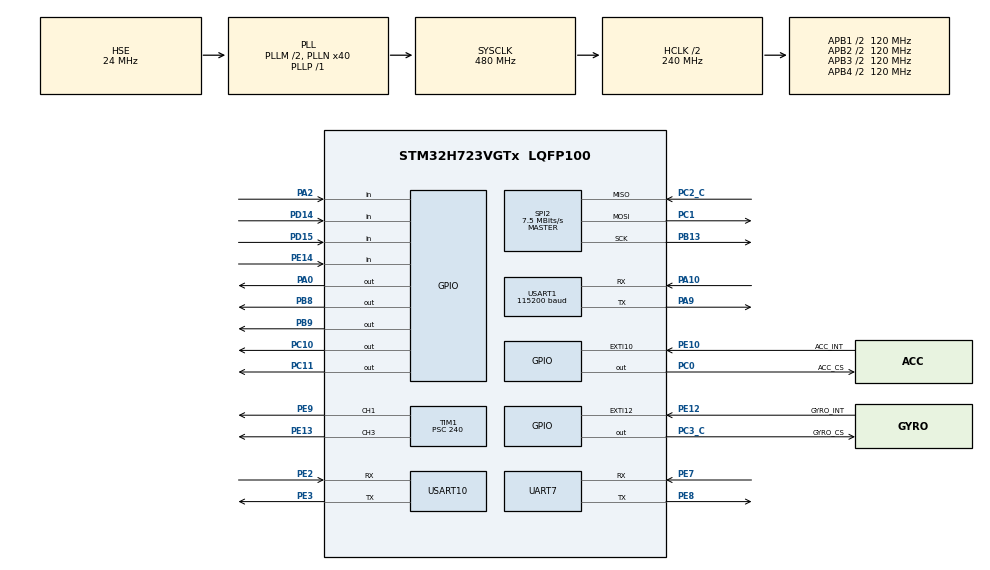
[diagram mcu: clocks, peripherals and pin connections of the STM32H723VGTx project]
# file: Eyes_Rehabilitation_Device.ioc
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Dma.Request0=SPI2_RX
Dma.Request1=SPI2_TX
Dma.Request2=USART1_TX
Dma.Request3=USART10_RX
Dma.SPI2_RX.0.Direction=DMA_PERIPH_TO_MEMORY
Dma.SPI2_RX.0.EventEnable=DISABLE
Dma.SPI2_RX.0.FIFOMode=DMA_FIFOMODE_DISABLE
Dma.SPI2_RX.0.Instance=DMA1_Stream0
Dma.SPI2_RX.0.MemDataAlignment=DMA_MDATAALIGN_BYTE
Dma.SPI2_RX.0.MemInc=DMA_MINC_ENABLE
Dma.SPI2_RX.0.Mode=DMA_NORMAL
Dma.SPI2_RX.0.PeriphDataAlignment=DMA_PDATAALIGN_BYTE
Dma.SPI2_RX.0.PeriphInc=DMA_PINC_DISABLE
Dma.SPI2_RX.0.Polarity=HAL_DMAMUX_REQ_GEN_RISING
Dma.SPI2_RX.0.Priority=DMA_PRIORITY_VERY_HIGH
Dma.SPI2_RX.0.RequestNumber=1
Dma.SPI2_RX.0.SignalID=NONE
Dma.SPI2_RX.0.SyncEnable=DISABLE
Dma.SPI2_RX.0.SyncPolarity=HAL_DMAMUX_SYNC_NO_EVENT
Dma.SPI2_RX.0.SyncRequestNumber=1
Dma.SPI2_RX.0.SyncSignalID=NONE
Dma.SPI2_TX.1.Direction=DMA_MEMORY_TO_PERIPH
Dma.SPI2_TX.1.EventEnable=DISABLE
Dma.SPI2_TX.1.FIFOMode=DMA_FIFOMODE_DISABLE
Dma.SPI2_TX.1.Instance=DMA1_Stream1
Dma.SPI2_TX.1.MemDataAlignment=DMA_MDATAALIGN_BYTE
Dma.SPI2_TX.1.MemInc=DMA_MINC_ENABLE
Dma.SPI2_TX.1.Mode=DMA_NORMAL
Dma.SPI2_TX.1.PeriphDataAlignment=DMA_PDATAALIGN_BYTE
Dma.SPI2_TX.1.PeriphInc=DMA_PINC_DISABLE
Dma.SPI2_TX.1.Polarity=HAL_DMAMUX_REQ_GEN_RISING
Dma.SPI2_TX.1.Priority=DMA_PRIORITY_HIGH
Dma.SPI2_TX.1.RequestNumber=1
Dma.SPI2_TX.1.SignalID=NONE
Dma.SPI2_TX.1.SyncEnable=DISABLE
Dma.SPI2_TX.1.SyncPolarity=HAL_DMAMUX_SYNC_NO_EVENT
Dma.SPI2_TX.1.SyncRequestNumber=1
Dma.SPI2_TX.1.SyncSignalID=NONE
Dma.USART10_RX.3.Direction=DMA_PERIPH_TO_MEMORY
Dma.USART10_RX.3.EventEnable=DISABLE
Dma.USART10_RX.3.FIFOMode=DMA_FIFOMODE_DISABLE
Dma.USART10_RX.3.Instance=DMA1_Stream4
Dma.USART10_RX.3.MemDataAlignment=DMA_MDATAALIGN_BYTE
Dma.USART10_RX.3.MemInc=DMA_MINC_ENABLE
Dma.USART10_RX.3.Mode=DMA_NORMAL
Dma.USART10_RX.3.PeriphDataAlignment=DMA_PDATAALIGN_BYTE
Dma.USART10_RX.3.PeriphInc=DMA_PINC_DISABLE
Dma.USART10_RX.3.Polarity=HAL_DMAMUX_REQ_GEN_RISING
Dma.USART10_RX.3.Priority=DMA_PRIORITY_LOW
Dma.USART10_RX.3.RequestNumber=1
Dma.USART10_RX.3.SignalID=NONE
Dma.USART10_RX.3.SyncEnable=DISABLE
Dma.USART10_RX.3.SyncPolarity=HAL_DMAMUX_SYNC_NO_EVENT
Dma.USART10_RX.3.SyncRequestNumber=1
Dma.USART10_RX.3.SyncSignalID=NONE
Dma.USART1_TX.2.Direction=DMA_MEMORY_TO_PERIPH
Dma.USART1_TX.2.EventEnable=DISABLE
Dma.USART1_TX.2.FIFOMode=DMA_FIFOMODE_DISABLE
Dma.USART1_TX.2.Instance=DMA1_Stream3
Dma.USART1_TX.2.MemDataAlignment=DMA_MDATAALIGN_BYTE
Dma.USART1_TX.2.MemInc=DMA_MINC_ENABLE
Dma.USART1_TX.2.Mode=DMA_NORMAL
Dma.USART1_TX.2.PeriphDataAlignment=DMA_PDATAALIGN_BYTE
Dma.USART1_TX.2.PeriphInc=DMA_PINC_DISABLE
Dma.USART1_TX.2.Polarity=HAL_DMAMUX_REQ_GEN_RISING
Dma.USART1_TX.2.Priority=DMA_PRIORITY_MEDIUM
Dma.USART1_TX.2.RequestNumber=1
Dma.USART1_TX.2.SignalID=NONE
Dma.USART1_TX.2.SyncEnable=DISABLE
Dma.USART1_TX.2.SyncPolarity=HAL_DMAMUX_SYNC_NO_EVENT
Dma.USART1_TX.2.SyncRequestNumber=1
Dma.USART1_TX.2.SyncSignalID=NONE
Mcu.Family=STM32H7
Mcu.Name=STM32H723VGTx
Mcu.Package=LQFP100
NVIC.DMA1_Stream0_IRQn=true\:1\:0\:true\:false\:true\:false\:true\:true
NVIC.DMA1_Stream1_IRQn=true\:2\:0\:true\:false\:true\:false\:true\:true
NVIC.DMA1_Stream3_IRQn=true\:8\:0\:false\:false\:true\:false\:true\:true
NVIC.DMA1_Stream4_IRQn=true\:7\:0\:true\:false\:true\:false\:true\:true
NVIC.EXTI15_10_IRQn=true\:3\:0\:true\:false\:true\:true\:true\:true
NVIC.PriorityGroup=NVIC_PRIORITYGROUP_4
NVIC.SPI2_IRQn=true\:5\:0\:true\:false\:true\:false\:true\:true
NVIC.UART7_IRQn=true\:5\:0\:true\:false\:true\:false\:true\:true
NVIC.USART10_IRQn=true\:6\:0\:true\:false\:true\:true\:true\:true
NVIC.USART1_IRQn=true\:5\:0\:true\:false\:true\:false\:true\:true
PA0.Signal=GPIO_Output
PA10.GPIO_Speed=GPIO_SPEED_FREQ_LOW
PA10.Mode=Asynchronous
PA10.Signal=USART1_RX
PA13(JTMS/SWDIO).Mode=Serial_Wire
PA13(JTMS/SWDIO).Signal=DEBUG_JTMS-SWDIO
PA14(JTCK/SWCLK).Mode=Serial_Wire
PA14(JTCK/SWCLK).Signal=DEBUG_JTCK-SWCLK
PA2.GPIO_PuPd=GPIO_PULLUP
PA2.Signal=GPIO_Input
PA9.GPIO_Speed=GPIO_SPEED_FREQ_LOW
PA9.Mode=Asynchronous
PA9.Signal=USART1_TX
PB13.GPIO_Speed=GPIO_SPEED_FREQ_VERY_HIGH
PB13.Mode=Full_Duplex_Master
PB13.Signal=SPI2_SCK
PB8.Signal=GPIO_Output
PB9.Signal=GPIO_Output
PC0.GPIO_Label=ACC_CS
PC0.GPIO_Speed=GPIO_SPEED_FREQ_VERY_HIGH
PC0.PinState=GPIO_PIN_SET
PC0.Signal=GPIO_Output
PC1.GPIO_Speed=GPIO_SPEED_FREQ_VERY_HIGH
PC1.Mode=Full_Duplex_Master
PC1.Signal=SPI2_MOSI
PC10.GPIO_PuPd=GPIO_PULLUP
PC10.GPIO_Speed=GPIO_SPEED_FREQ_HIGH
PC10.Signal=GPIO_Output
PC11.GPIO_PuPd=GPIO_PULLUP
PC11.GPIO_Speed=GPIO_SPEED_FREQ_HIGH
PC11.Signal=GPIO_Output
PC2_C.GPIO_Speed=GPIO_SPEED_FREQ_VERY_HIGH
PC2_C.Mode=Full_Duplex_Master
PC2_C.Signal=SPI2_MISO
PC3_C.GPIO_Label=GYRO_CS
PC3_C.GPIO_Speed=GPIO_SPEED_FREQ_VERY_HIGH
PC3_C.PinState=GPIO_PIN_SET
PC3_C.Signal=GPIO_Output
PD14.GPIO_PuPd=GPIO_PULLUP
PD14.Signal=GPIO_Input
PD15.GPIO_PuPd=GPIO_PULLUP
PD15.Signal=GPIO_Input
PE10.GPIO_Label=ACC_INT
PE10.Signal=GPXTI10
PE12.GPIO_Label=GYRO_INT
PE12.Signal=GPXTI12
PE13.Signal=S_TIM1_CH3
PE14.GPIO_PuPd=GPIO_PULLUP
PE14.Signal=GPIO_Input
PE2.Mode=Asynchronous
PE2.Signal=USART10_RX
PE3.Mode=Asynchronous
PE3.Signal=USART10_TX
PE7.Mode=Asynchronous
PE7.Signal=UART7_RX
PE8.Mode=Asynchronous
PE8.Signal=UART7_TX
PE9.Signal=S_TIM1_CH1
PH0-OSC_IN.Mode=HSE-External-Oscillator
PH0-OSC_IN.Signal=RCC_OSC_IN
PH1-OSC_OUT.Mode=HSE-External-Oscillator
PH1-OSC_OUT.Signal=RCC_OSC_OUT
ProjectManager.HeapSize=0x200
ProjectManager.StackSize=0x800
ProjectManager.TargetToolchain=MDK-ARM V5.27
RCC.ADCFreq_Value=48375000
RCC.APB1Freq_Value=120000000
RCC.APB2Freq_Value=120000000
RCC.APB3Freq_Value=120000000
RCC.APB4Freq_Value=120000000
RCC.CortexFreq_Value=480000000
RCC.D1PPRE=RCC_APB3_DIV2
RCC.D2PPRE1=RCC_APB1_DIV2
RCC.D2PPRE2=RCC_APB2_DIV2
RCC.D3PPRE=RCC_APB4_DIV2
RCC.DIVM1=2
RCC.DIVN1=40
RCC.DIVP1=1
RCC.HCLKFreq_Value=240000000
RCC.HPRE=RCC_HCLK_DIV2
RCC.HSE_VALUE=24000000
RCC.PLL2FRACN=0
RCC.PLL3FRACN=0
RCC.PLLFRACN=0
RCC.PLLSourceVirtual=RCC_PLLSOURCE_HSE
RCC.SYSCLKFreq_VALUE=480000000
RCC.SYSCLKSource=RCC_SYSCLKSOURCE_PLLCLK
RCC.USBFreq_Value=240000000
SH.S_TIM1_CH1.0=TIM1_CH1,PWM Generation1 CH1
SH.S_TIM1_CH3.0=TIM1_CH3,PWM Generation3 CH3
SPI2.BaudRatePrescaler=SPI_BAUDRATEPRESCALER_32
SPI2.CLKPhase=SPI_PHASE_2EDGE
SPI2.CLKPolarity=SPI_POLARITY_HIGH
SPI2.CalculateBaudRate=7.5 MBits/s
SPI2.DataSize=SPI_DATASIZE_8BIT
SPI2.Direction=SPI_DIRECTION_2LINES
SPI2.Mode=SPI_MODE_MASTER
SPI2.VirtualType=VM_MASTER
TIM1.Channel-PWM\ Generation1\ CH1=TIM_CHANNEL_1
TIM1.Channel-PWM\ Generation3\ CH3=TIM_CHANNEL_3
TIM1.Period=19999
TIM1.Prescaler=240
USART1.BaudRate=115200
USART1.VirtualMode-Asynchronous=VM_ASYNC
USART1.VirtualType=VM_ASYNC
USART10.VirtualMode=VM_ASYNC
VP_MEMORYMAP_VS_MEMORYMAP.Mode=CurAppReg
VP_TIM1_VS_ClockSourceINT.Mode=Internal
board=custom

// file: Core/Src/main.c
/* USER CODE BEGIN Header */
/**
  ******************************************************************************
  * @file           : main.c
  * @brief          : Main program body
  ******************************************************************************
  * @attention
  *
  * Copyright (c) 2024 STMicroelectronics.
  * All rights reserved.
  *
  * This software is licensed under terms that can be found in the LICENSE file
  * in the root directory of this software component.
  * If no LICENSE file comes with this software, it is provided AS-IS.
  *
  ******************************************************************************
  */
/* USER CODE END Header */
#include "main.h"
#include "dma.h"
#include "spi.h"
#include "tim.h"
#include "usart.h"
#include "gpio.h"

/* USER CODE BEGIN Includes */
#include "BMI088driver.h"
#include "servo.h"
#include "voice.h"
#include "laser.h"
#include "key.h"
#include "led.h"
#include "head_tracker.h"
#include "train_modes.h"
#include "buzzer.h"
#include "ws2812.h"
#include "wireless_bridge.h"
#include <math.h>
#include <stdio.h>
#include <string.h>
/* USER CODE END Includes */

void SystemClock_Config(void);

/* USER CODE BEGIN 0 */
#define VOFA_SEND_PERIOD_MS       100U
#define VOFA_UART_BAUDRATE        115200U
#define VOFA_TX_MARGIN_MS         10U

bmi088_euler_data_t euler_angle;
float temp;
static float vofa_gyro[3];
static float vofa_accel[3];
static float vofa_bias[3];
static float vofa_roll_deg;
static float vofa_pitch_deg;
static float vofa_yaw_deg;
static float vofa_dt;
static uint32_t vofa_timestamp_us;
static uint8_t imu_calibrated;
static uint8_t imu_is_static;
static uint8_t wireless_online;
static uint32_t wireless_rx_valid;
static uint32_t wireless_rx_invalid;
static uint32_t wireless_tx_count;
static uint32_t wireless_last_sequence;
static uint32_t wireless_status_last_ms;
static char vofa_buf[384];
static char vofa_dma_buf[384];
static uint32_t vofa_last_send_ms;
static uint32_t vofa_tx_fail_count;
static uint32_t vofa_tx_drop_count;
static volatile uint8_t vofa_tx_busy;
static uint32_t ws2812_alert_tick = 0;
static uint8_t  ws2812_alert_on = 0;
static uint8_t  prev_alert_active = 0;

#pragma pack(push, 1)
typedef struct {
    uint32_t session_id;
    uint8_t flow_mode, mode_count, completed_modes, completed, overall_score;
    uint8_t mode_order[5];
    uint32_t total_duration_ms;
    uint8_t config_version;
    uint8_t reserved[9];
} ReportSummaryWire_t;

typedef struct {
    uint32_t session_id;
    uint8_t mode, completed, score, pause_count;
    uint16_t total_trials, correct_trials, timeout_trials;
    uint16_t duration_s, avg_reaction_ms, min_reaction_ms, max_reaction_ms;
    uint16_t avg_head_offset_tenths, max_head_offset_tenths, head_variation_tenths;
} ReportModeBasicWire_t;

typedef struct {
    uint32_t session_id;
    uint8_t mode, valid;
    uint8_t reserved0[2];
    uint32_t head_over_limit_ms;
    uint16_t compensation_permille;
    uint16_t left_total, left_correct, right_total, right_correct;
    uint8_t trial_count, affected_side;
    int16_t asymmetry_permille;
    uint8_t reserved1[2];
} ReportModeDetailWire_t;

typedef struct {
    uint32_t session_id;
    uint8_t mode, index, target, side, correct, timed_out;
    uint8_t reserved0[2];
    uint32_t reaction_ms;
    uint8_t reserved1[12];
} ReportTrialWire_t;
#pragma pack(pop)

typedef char ReportSummarySizeCheck[(sizeof(ReportSummaryWire_t) == 28U) ? 1 : -1];
typedef char ReportModeBasicSizeCheck[(sizeof(ReportModeBasicWire_t) == 28U) ? 1 : -1];
typedef char ReportModeDetailSizeCheck[(sizeof(ReportModeDetailWire_t) == 28U) ? 1 : -1];
typedef char ReportTrialSizeCheck[(sizeof(ReportTrialWire_t) == 28U) ? 1 : -1];

static TrainingConfig_t Main_ConvertWirelessConfig(const WirelessTrainingConfig_t *wire);
static WirelessTrainingConfig_t Main_ConvertTrainingConfig(const TrainingConfig_t *config);
static void Main_SendReportSection(const WirelessReportQuery_t *query);
static uint16_t Main_ClampU16(uint32_t value);
/* USER CODE END 0 */

int main(void)
{

  /* MCU Configuration--------------------------------------------------------*/

  /* Reset of all peripherals, Initializes the Flash interface and the Systick. */
  HAL_Init();

  /* Configure the system clock */
  SystemClock_Config();

  /* Initialize all configured peripherals */
  MX_GPIO_Init();
  MX_DMA_Init();
  MX_SPI2_Init();
  MX_TIM1_Init();
  MX_USART1_UART_Init();
  MX_UART7_Init();
  MX_USART10_UART_Init();
  /* USER CODE BEGIN 2 */

    while (BMI088_init() != BMI088_NO_ERROR)
    {
    }
    BMI088_AsyncStart();
    BMI088_euler_init();
    HAL_Delay(2000);

    /* 使能 DM-02 板载 5V 可控电源输出（舵机/PWM/串口/CAN 供电） */
    __HAL_RCC_GPIOC_CLK_ENABLE();
    GPIO_InitTypeDef pwr = {0};
    pwr.Pin = GPIO_PIN_13 | GPIO_PIN_14 | GPIO_PIN_15;
    pwr.Mode = GPIO_MODE_OUTPUT_PP;
    pwr.Pull = GPIO_NOPULL;
    pwr.Speed = GPIO_SPEED_FREQ_LOW;
    HAL_GPIO_Init(GPIOC, &pwr);
    HAL_GPIO_WritePin(GPIOC, GPIO_PIN_13 | GPIO_PIN_14 | GPIO_PIN_15, GPIO_PIN_SET);

    Servo_Init();
    /* 成品上电保持双轴 90 度安全停放；需要检修时再手动调用 Servo_Test()。 */

    Laser_Init();
    Laser_Test();// 点亮激光并闪烁 3 次，验证 PA0 输出正常

    Key_Init();
    LED_Init();
    HeadTracker_Init();
    App_Init();
    Buzzer_Init();
    WS2812_Init();
    Voice_Init();
    WirelessBridge_Init();

    Buzzer_Alert(3, 200, 100);
    Laser_Blink(200, 3);
    HAL_Delay(4000);
    Voice_Play(0xFF, VOICE_TTS_INIT_OK); // 初始化完成播报
    HAL_Delay(4000);
    Voice_Play(0xFF, VOICE_TTS_WELCOME); // 欢迎
    HAL_Delay(2000);

    /* ==== PA2 按键测试（成功后删除）==== */
    /* ================================== */
    //Calibrate_ServoRange();  /* 标定模式已改为语音命令触发 */
  /* USER CODE END 2 */

  /* Infinite loop */
  while (1)
  {

    /* USER CODE BEGIN 3 */
        uint32_t now_ms = HAL_GetTick();
        WirelessControlRequest_t control_request;
        WirelessConfigRequest_t config_request;
        WirelessConfigQuery_t config_query;
        WirelessReportQuery_t report_query;
        WirelessServoPreviewRequest_t servo_preview_request;

        if (WirelessBridge_TakeConfig(&config_request) != 0U)
        {
            AppControlResult_t config_result;
            if (config_request.precheck_result == APP_CONTROL_RESULT_ACCEPTED)
            {
                TrainingConfig_t config = Main_ConvertWirelessConfig(&config_request.config);
                config_result = App_SetTrainingConfig(&config);
            }
            else
            {
                config_result = (AppControlResult_t)config_request.precheck_result;
            }
            WirelessBridge_SendConfigAck(&config_request, (uint8_t)config_result,
                                         (uint8_t)App_GetState());
        }

        if (WirelessBridge_TakeConfigQuery(&config_query) != 0U)
        {
            TrainingConfig_t active_config = App_GetTrainingConfig();
            WirelessTrainingConfig_t wireless_config = Main_ConvertTrainingConfig(&active_config);
            WirelessBridge_SendConfigData(&config_query, &wireless_config);
        }

        if (WirelessBridge_TakeServoPreview(&servo_preview_request) != 0U)
        {
            AppControlResult_t preview_result;
            if (servo_preview_request.precheck_result == APP_CONTROL_RESULT_ACCEPTED)
            {
                preview_result = App_PreviewServo(
                    servo_preview_request.axis, servo_preview_request.angle,
                    (AppServoPreviewAction_t)servo_preview_request.action);
            }
            else
            {
                preview_result = (AppControlResult_t)servo_preview_request.precheck_result;
            }
            WirelessBridge_SendServoPreviewAck(&servo_preview_request,
                                               (uint8_t)preview_result,
                                               (uint8_t)App_GetState());
        }

        /* USART10中断只接收并入队，所有训练状态切换统一在主循环执行。 */
        if (WirelessBridge_TakeControl(&control_request) != 0U)
        {
            AppControlResult_t control_result;

            if (control_request.precheck_result == APP_CONTROL_RESULT_ACCEPTED)
            {
                if (control_request.command == APP_CONTROL_START)
                {
                    TrainingPlan_t plan;
                    memset(&plan, 0, sizeof(plan));
                    plan.flow_mode = control_request.flow_mode;
                    plan.mode_count = control_request.mode_count;
                    memcpy(plan.mode_order, control_request.mode_order, sizeof(plan.mode_order));
                    if (control_request.config_version != APP_CONFIG_VERSION)
                        control_result = APP_CONTROL_RESULT_VERSION_MISMATCH;
                    else
                        control_result = App_StartSession(&plan);
                }
                else
                {
                    control_result = App_ExecuteControl((AppControlCommand_t)control_request.command, 0U);
                }
            }
            else
            {
                control_result = (AppControlResult_t)control_request.precheck_result;
            }
            WirelessBridge_SendControlAck(&control_request, (uint8_t)control_result,
                                          (uint8_t)App_GetState(), (uint8_t)App_GetMode());
        }
        WirelessBridge_Update(now_ms);
        BMI088_Task();

        BMI088_read_euler(&euler_angle, &temp);
        HeadTracker_Update(&euler_angle, 0.01f);

        HeadAnalysis_t *head = HeadTracker_GetResult();
        (void)head;

        uint8_t alert_active = 0;
        uint8_t suppress_posture_alert =
            (App_GetState() == SYS_TRAIN && App_GetMode() == MODE_A_FIXATION);

        if (!suppress_posture_alert)
        {
            TrainingConfig_t active_config = App_GetTrainingConfig();
            /* Vertical mount semantics: roll=nod, pitch=head turn, yaw=lateral tilt. */
            if (fabsf(euler_angle.roll)  > active_config.safety_nod_deg) alert_active = 1;
            if (fabsf(euler_angle.pitch) > active_config.safety_turn_deg) alert_active = 1;
            if (fabsf(euler_angle.yaw)   > active_config.safety_tilt_deg) alert_active = 1;
        }

        /* 蜂鸣器：刚进入报警状态时响两声 */
        if (alert_active && !prev_alert_active)
        {
            Buzzer_Alert(2, 150, 100);
        }
        prev_alert_active = alert_active;

        /* WS2812：报警态红色闪烁，正常态绿色呼吸 */
        if (alert_active)
        {
            if (HAL_GetTick() - ws2812_alert_tick >= 1000)
            {
                ws2812_alert_tick = HAL_GetTick();
                ws2812_alert_on = !ws2812_alert_on;
            }
            WS2812_Set(ws2812_alert_on ? 255 : 0, 0, 0);
        }
        else
        {
            WS2812_BreathingGreen();
        }

        Key_Scan();
        App_Run(&euler_angle, temp);

        if (WirelessBridge_TakeReportQuery(&report_query) != 0U)
        {
            Main_SendReportSection(&report_query);
            /* Start a report reply immediately instead of waiting for the next 10 ms cycle. */
            WirelessBridge_Update(now_ms);
        }

        if ((now_ms - wireless_status_last_ms) >= 200U)
        {
            WirelessTrainingStatus_t status;
            AppLiveStatus_t live_status;

            wireless_status_last_ms = now_ms;
            App_GetLiveStatus(&live_status);
            memset(&status, 0, sizeof(status));
            status.state = live_status.state;
            status.mode = live_status.mode;
            status.flow_mode = live_status.flow_mode;
            status.flags = live_status.flags;
            status.mode_index = live_status.mode_index;
            status.mode_count = live_status.mode_count;
            status.total_trials = live_status.total_trials;
            status.correct_trials = live_status.correct_trials;
            status.timeout_trials = live_status.timeout_trials;
            status.elapsed_ms = live_status.elapsed_ms;
            status.avg_reaction_ms = live_status.avg_reaction_ms;
            status.head_offset_tenths = live_status.head_offset_tenths;
            status.head_variation_tenths = live_status.head_variation_tenths;
            status.session_id = live_status.session_id;
            status.calibration_phase = live_status.calibration_phase;
            status.calibration_points = live_status.calibration_points;
            WirelessBridge_SendTrainingStatus(&status);
        }

        if ((HAL_GetTick() - vofa_last_send_ms) >= VOFA_SEND_PERIOD_MS)
        {
            int len;

            vofa_last_send_ms = HAL_GetTick();
            BMI088_GetLatestFloat(vofa_gyro, vofa_accel, &temp, &vofa_timestamp_us);
            BMI088_GetEuler(&vofa_roll_deg, &vofa_pitch_deg, &vofa_yaw_deg, &vofa_dt, &vofa_timestamp_us);
            BMI088_GetGyroBias(vofa_bias);
            imu_calibrated = BMI088_IsCalibrated();
            imu_is_static = BMI088_IsStatic();
            wireless_online = WirelessBridge_IsOnline();
            wireless_rx_valid = WirelessBridge_GetValidRxCount();
            wireless_rx_invalid = WirelessBridge_GetInvalidRxCount();
            wireless_tx_count = WirelessBridge_GetTxCount();
            wireless_last_sequence = WirelessBridge_GetLastSequence();

            len = snprintf(vofa_buf, sizeof(vofa_buf),
                           "imu:%.3f,%.3f,%.3f,%.3f,%.3f,%.3f,%.5f,%.5f,%.5f,%.5f,%.5f,%.5f,%.5f,%.5f,%.5f,%u,%u,%.2f,%u,%u,%u,%u,%u,%u,%u,%u,%u,%u,%u,%u,%u,%u,%u\n",
                           euler_angle.roll, euler_angle.pitch, euler_angle.yaw,
                           vofa_roll_deg, vofa_pitch_deg, vofa_yaw_deg,
                           vofa_gyro[0], vofa_gyro[1], vofa_gyro[2],
                           vofa_accel[0], vofa_accel[1], vofa_accel[2],
                           vofa_bias[0], vofa_bias[1], vofa_bias[2],
                           (unsigned int)imu_is_static,
                           (unsigned int)imu_calibrated,
                           temp,
                           (unsigned int)wireless_online,
                           (unsigned int)wireless_rx_valid,
                           (unsigned int)wireless_rx_invalid,
                           (unsigned int)wireless_tx_count,
                           (unsigned int)wireless_last_sequence,
                           (unsigned int)App_GetState(),
                           (unsigned int)App_GetMode(),
                           (unsigned int)App_GetLastVoiceCmd(),
                           (unsigned int)App_GetLastVoiceCmdTick(),
                           (unsigned int)Voice_GetLastTxType(),
                           (unsigned int)Voice_GetLastTxId(),
                           (unsigned int)Voice_GetLastTxTick(),
                           (unsigned int)App_GetLastEvent(),
                           (unsigned int)vofa_tx_fail_count,
                           (unsigned int)vofa_tx_drop_count);

            if ((len > 0) && (len < (int)sizeof(vofa_buf)))
            {
                if (vofa_tx_busy != 0U)
                {
                    vofa_tx_drop_count++;
                }
                else
                {
                    memcpy(vofa_dma_buf, vofa_buf, (size_t)len);
                    vofa_tx_busy = 1U;
                    if (HAL_UART_Transmit_DMA(&huart1, (uint8_t *)vofa_dma_buf, (uint16_t)len) != HAL_OK)
                    {
                        vofa_tx_busy = 0U;
                        vofa_tx_fail_count++;
                    }
                }
            }
        }

        BMI088_ClearNewSampleFlag();
        HAL_Delay(10);
  }
  /* USER CODE END 3 */
}

void SystemClock_Config(void)
{
  RCC_OscInitTypeDef RCC_OscInitStruct = {0};
  RCC_ClkInitTypeDef RCC_ClkInitStruct = {0};

  /** Supply configuration update enable
  */
  HAL_PWREx_ConfigSupply(PWR_LDO_SUPPLY);

  /** Configure the main internal regulator output voltage
  */
  __HAL_PWR_VOLTAGESCALING_CONFIG(PWR_REGULATOR_VOLTAGE_SCALE0);

  while(!__HAL_PWR_GET_FLAG(PWR_FLAG_VOSRDY)) {}

  /** Initializes the RCC Oscillators according to the specified parameters
  * in the RCC_OscInitTypeDef structure.
  */
  RCC_OscInitStruct.OscillatorType = RCC_OSCILLATORTYPE_HSE;
  RCC_OscInitStruct.HSEState = RCC_HSE_ON;
  RCC_OscInitStruct.PLL.PLLState = RCC_PLL_ON;
  RCC_OscInitStruct.PLL.PLLSource = RCC_PLLSOURCE_HSE;
  RCC_OscInitStruct.PLL.PLLM = 2;
  RCC_OscInitStruct.PLL.PLLN = 40;
  RCC_OscInitStruct.PLL.PLLP = 1;
  RCC_OscInitStruct.PLL.PLLQ = 2;
  RCC_OscInitStruct.PLL.PLLR = 2;
  RCC_OscInitStruct.PLL.PLLRGE = RCC_PLL1VCIRANGE_3;
  RCC_OscInitStruct.PLL.PLLVCOSEL = RCC_PLL1VCOWIDE;
  RCC_OscInitStruct.PLL.PLLFRACN = 0;
  if (HAL_RCC_OscConfig(&RCC_OscInitStruct) != HAL_OK)
  {
    Error_Handler();
  }

  /** Initializes the CPU, AHB and APB buses clocks
  */
  RCC_ClkInitStruct.ClockType = RCC_CLOCKTYPE_HCLK|RCC_CLOCKTYPE_SYSCLK
                              |RCC_CLOCKTYPE_PCLK1|RCC_CLOCKTYPE_PCLK2
                              |RCC_CLOCKTYPE_D3PCLK1|RCC_CLOCKTYPE_D1PCLK1;
  RCC_ClkInitStruct.SYSCLKSource = RCC_SYSCLKSOURCE_PLLCLK;
  RCC_ClkInitStruct.SYSCLKDivider = RCC_SYSCLK_DIV1;
  RCC_ClkInitStruct.AHBCLKDivider = RCC_HCLK_DIV2;
  RCC_ClkInitStruct.APB3CLKDivider = RCC_APB3_DIV2;
  RCC_ClkInitStruct.APB1CLKDivider = RCC_APB1_DIV2;
  RCC_ClkInitStruct.APB2CLKDivider = RCC_APB2_DIV2;
  RCC_ClkInitStruct.APB4CLKDivider = RCC_APB4_DIV2;

  if (HAL_RCC_ClockConfig(&RCC_ClkInitStruct, FLASH_LATENCY_3) != HAL_OK)
  {
    Error_Handler();
  }
}

/* USER CODE BEGIN 4 */
static uint16_t Main_ClampU16(uint32_t value)
{
  return (value > 65535U) ? 65535U : (uint16_t)value;
}

static TrainingConfig_t Main_ConvertWirelessConfig(const WirelessTrainingConfig_t *wire)
{
  TrainingConfig_t config;
  memset(&config, 0, sizeof(config));
  config.version = wire->version;
  config.x_min = wire->x_min; config.x_home = wire->x_home; config.x_max = wire->x_max;
  config.y_min = wire->y_min; config.y_home = wire->y_home; config.y_max = wire->y_max;
  config.servo_settle_ms = (uint16_t)wire->servo_settle_10ms * 10U;
  config.fixation_duration_s = wire->fixation_duration_s;
  config.saccade_trials = wire->saccade_trials;
  config.saccade_response_ms = (uint16_t)wire->saccade_timeout_100ms * 100U;
  config.saccade_interval_ms = (uint16_t)wire->saccade_interval_10ms * 10U;
  config.saccade_pattern = wire->saccade_pattern;
  config.pursuit_speed_deg_s = wire->pursuit_speed_deg_s;
  config.pursuit_path = wire->pursuit_path;
  config.pursuit_rounds = wire->pursuit_rounds;
  config.pursuit_checkpoint_ms = (uint16_t)wire->pursuit_checkpoint_100ms * 100U;
  config.focus_trials = wire->focus_trials;
  config.focus_timeout_s = wire->focus_timeout_s;
  config.focus_interval_s = wire->focus_interval_s;
  config.focus_feedback_required = wire->focus_feedback_required;
  config.neglect_trials = wire->neglect_trials;
  config.neglect_timeout_ms = (uint16_t)wire->neglect_timeout_100ms * 100U;
  config.neglect_affected_side = wire->neglect_affected_side;
  config.neglect_affected_ratio = wire->neglect_affected_ratio;
  config.neglect_pattern = wire->neglect_pattern;
  config.head_warning_tenths = wire->head_warning_tenths;
  config.safety_turn_deg = wire->safety_turn_deg;
  config.safety_nod_deg = wire->safety_nod_deg;
  config.safety_tilt_deg = wire->safety_tilt_deg;
  config.resume_stable_s = wire->resume_stable_s;
  config.head_variation_limit_deg = wire->head_variation_limit_deg;
  return config;
}

static WirelessTrainingConfig_t Main_ConvertTrainingConfig(const TrainingConfig_t *config)
{
  WirelessTrainingConfig_t wire;
  memset(&wire, 0, sizeof(wire));
  wire.version = config->version;
  wire.x_min = config->x_min; wire.x_home = config->x_home; wire.x_max = config->x_max;
  wire.y_min = config->y_min; wire.y_home = config->y_home; wire.y_max = config->y_max;
  wire.servo_settle_10ms = (uint8_t)(config->servo_settle_ms / 10U);
  wire.fixation_duration_s = config->fixation_duration_s;
  wire.saccade_trials = config->saccade_trials;
  wire.saccade_timeout_100ms = (uint8_t)(config->saccade_response_ms / 100U);
  wire.saccade_interval_10ms = (uint8_t)(config->saccade_interval_ms / 10U);
  wire.saccade_pattern = config->saccade_pattern;
  wire.pursuit_speed_deg_s = config->pursuit_speed_deg_s;
  wire.pursuit_path = config->pursuit_path;
  wire.pursuit_rounds = config->pursuit_rounds;
  wire.pursuit_checkpoint_100ms = (uint8_t)(config->pursuit_checkpoint_ms / 100U);
  wire.focus_trials = config->focus_trials;
  wire.focus_timeout_s = config->focus_timeout_s;
  wire.focus_interval_s = config->focus_interval_s;
  wire.focus_feedback_required = config->focus_feedback_required;
  wire.neglect_trials = config->neglect_trials;
  wire.neglect_timeout_100ms = (uint8_t)(config->neglect_timeout_ms / 100U);
  wire.neglect_affected_side = config->neglect_affected_side;
  wire.neglect_affected_ratio = config->neglect_affected_ratio;
  wire.neglect_pattern = config->neglect_pattern;
  wire.head_warning_tenths = (uint8_t)config->head_warning_tenths;
  wire.safety_turn_deg = config->safety_turn_deg;
  wire.safety_nod_deg = config->safety_nod_deg;
  wire.safety_tilt_deg = config->safety_tilt_deg;
  wire.resume_stable_s = config->resume_stable_s;
  wire.head_variation_limit_deg = config->head_variation_limit_deg;
  return wire;
}

static void Main_SendReportSection(const WirelessReportQuery_t *query)
{
  WirelessReportData_t response;
  TrainingSessionReport_t session = App_GetSessionReport();
  TrainingConfig_t config = App_GetTrainingConfig();
  memset(&response, 0, sizeof(response));
  response.section = query->section;
  response.index = query->index;
  if (query->session_id != 0U && query->session_id != session.session_id)
  {
    WirelessBridge_SendReportData(query, &response);
    return;
  }

  if (query->section == 0U)
  {
    ReportSummaryWire_t data;
    memset(&data, 0, sizeof(data));
    data.session_id = session.session_id;
    data.flow_mode = session.flow_mode;
    data.mode_count = session.mode_count;
    data.completed_modes = session.completed_modes;
    data.completed = session.completed;
    data.overall_score = session.overall_score;
    memcpy(data.mode_order, session.mode_order, sizeof(data.mode_order));
    data.total_duration_ms = session.total_duration_ms;
    data.config_version = config.version;
    memcpy(response.data, &data, sizeof(data));
    response.valid = (session.session_id != 0U);
  }
  else if (query->section == 1U)
  {
    ModeReport_t report;
    ReportModeBasicWire_t data;
    memset(&data, 0, sizeof(data));
    if (App_GetModeReport(query->mode, &report) != 0U)
    {
      data.session_id = session.session_id;
      data.mode = report.mode; data.completed = report.completed;
      data.score = report.score; data.pause_count = report.pause_count;
      data.total_trials = report.total_trials; data.correct_trials = report.correct_trials;
      data.timeout_trials = report.timeout_trials;
      data.duration_s = Main_ClampU16(report.duration_ms / 1000U);
      data.avg_reaction_ms = Main_ClampU16(report.avg_reaction_ms);
      data.min_reaction_ms = Main_ClampU16(report.min_reaction_ms);
      data.max_reaction_ms = Main_ClampU16(report.max_reaction_ms);
      data.avg_head_offset_tenths = report.avg_head_offset_tenths;
      data.max_head_offset_tenths = report.max_head_offset_tenths;
      data.head_variation_tenths = report.head_variation_tenths;
      memcpy(response.data, &data, sizeof(data));
      response.valid = report.completed;
    }
  }
  else if (query->section == 2U)
  {
    ModeReport_t report;
    ReportModeDetailWire_t data;
    memset(&data, 0, sizeof(data));
    if (App_GetModeReport(query->mode, &report) != 0U)
    {
      int32_t left_rate = report.left_total ? (int32_t)report.left_correct * 1000 / report.left_total : 0;
      int32_t right_rate = report.right_total ? (int32_t)report.right_correct * 1000 / report.right_total : 0;
      data.session_id = session.session_id; data.mode = report.mode; data.valid = report.completed;
      data.head_over_limit_ms = report.head_over_limit_ms;
      data.compensation_permille = report.compensation_permille;
      data.left_total = report.left_total; data.left_correct = report.left_correct;
      data.right_total = report.right_total; data.right_correct = report.right_correct;
      data.trial_count = App_GetTrialCount(query->mode);
      data.affected_side = config.neglect_affected_side;
      data.asymmetry_permille = (int16_t)(left_rate - right_rate);
      memcpy(response.data, &data, sizeof(data));
      response.valid = report.completed;
    }
  }
  else if (query->section == 3U)
  {
    TrialResult_t trial;
    ReportTrialWire_t data;
    memset(&data, 0, sizeof(data));
    if (App_GetTrialResult(query->mode, query->index, &trial) != 0U)
    {
      data.session_id = session.session_id; data.mode = query->mode; data.index = query->index;
      data.target = trial.target; data.side = trial.side; data.correct = trial.correct;
      data.timed_out = trial.timed_out; data.reaction_ms = trial.reaction_ms;
      memcpy(response.data, &data, sizeof(data));
      response.valid = 1U;
    }
  }
  WirelessBridge_SendReportData(query, &response);
}

void Vofa_USART1_ErrorNotify(void)
{
  vofa_tx_busy = 0U;
  vofa_tx_fail_count++;
}

void HAL_UART_TxCpltCallback(UART_HandleTypeDef *huart)
{
  if (huart->Instance == USART1)
  {
    vofa_tx_busy = 0U;
  }
  else if (huart->Instance == USART10)
  {
    WirelessBridge_OnTxComplete();
  }
}

void HAL_UART_ErrorCallback(UART_HandleTypeDef *huart)
{
  if (huart->Instance == USART10)
  {
    WirelessBridge_OnError();
  }
  else if (huart->Instance == USART1)
  {
    Vofa_USART1_ErrorNotify();
  }
}

/* USER CODE END 4 */

void Error_Handler(void)
{
  __disable_irq();
  while (1)
  {
  }
}
